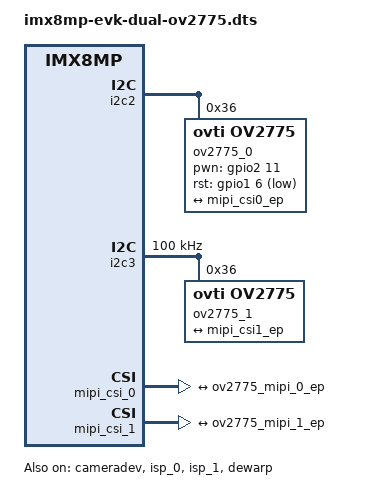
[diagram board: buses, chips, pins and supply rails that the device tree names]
// SPDX-License-Identifier: (GPL-2.0+ OR MIT)
/*
 * Copyright 2020 NXP
 *
 * This program is free software; you can redistribute it and/or
 * modify it under the terms of the GNU General Public License
 * as published by the Free Software Foundation; either version 2
 * of the License, or (at your option) any later version.
 *
 * This program is distributed in the hope that it will be useful,
 * but WITHOUT ANY WARRANTY; without even the implied warranty of
 * MERCHANTABILITY or FITNESS FOR A PARTICULAR PURPOSE.  See the
 * GNU General Public License for more details.
 */

#include "imx8mp-evk.dts"

&i2c2 {
	/delete-node/ov5640_mipi@3c;

	ov2775_0: ov2775_mipi@36 {
		compatible = "ovti,ov2775";
		reg = <0x36>;
		pinctrl-names = "default";
		pinctrl-0 = <&pinctrl_csi0_pwn>, <&pinctrl_csi0_rst>, <&pinctrl_csi_mclk>;
		clocks = <&clk IMX8MP_CLK_IPP_DO_CLKO2>;
		clock-names = "csi_mclk";
		assigned-clocks = <&clk IMX8MP_CLK_IPP_DO_CLKO2>;
		assigned-clock-parents = <&clk IMX8MP_CLK_24M>;
		assigned-clock-rates = <24000000>;
		csi_id = <0>;
		pwn-gpios = <&gpio2 11 GPIO_ACTIVE_HIGH>;
		rst-gpios = <&gpio1 6 GPIO_ACTIVE_LOW>;
		mclk = <24000000>;
		mclk_source = <0>;
		status = "okay";

		port {
			ov2775_mipi_0_ep: endpoint {
				data-lanes = <1 2 3 4>;
				clock-lanes = <0>;
				max-pixel-frequency = /bits/ 64 <266000000>;
				remote-endpoint = <&mipi_csi0_ep>;
			};
		};

	};
};

&i2c3 {
	clock-frequency = <100000>;
	pinctrl-names = "default";
	pinctrl-0 = <&pinctrl_i2c3>;
	status = "okay";

	/delete-node/ov5640_mipi@3c;

	ov2775_1: ov2775_mipi@36 {
		compatible = "ovti,ov2775";
		reg = <0x36>;
		clocks = <&clk IMX8MP_CLK_IPP_DO_CLKO2>;
		clock-names = "csi_mclk";
		assigned-clocks = <&clk IMX8MP_CLK_IPP_DO_CLKO2>;
		assigned-clock-parents = <&clk IMX8MP_CLK_24M>;
		assigned-clock-rates = <24000000>;
		csi_id = <1>;
		mclk = <24000000>;
		mclk_source = <0>;
		status = "okay";

		port {
			ov2775_mipi_1_ep: endpoint {
				data-lanes = <1 2 3 4>;
				clock-lanes = <0>;
				max-pixel-frequency = /bits/ 64 <266000000>;
				remote-endpoint = <&mipi_csi1_ep>;
			};
		};
	};
};

&cameradev {
	status = "okay";
};

&isi_0 {
	status = "disabled";
};

&isi_1 {
	status = "disabled";
};

&isp_0 {
	status = "okay";
};

&isp_1 {
	status = "okay";
};

&dewarp {
	status = "okay";
};

&mipi_csi_0 {
	status = "okay";
	clock-frequency = <266000000>;
	assigned-clock-parents = <&clk IMX8MP_SYS_PLL1_266M>;
	assigned-clock-rates = <266000000>;

	port {
		endpoint {
			remote-endpoint = <&ov2775_mipi_0_ep>;
			data-lanes = <4>;
			csis-hs-settle = <16>;
		};
	};
};

&mipi_csi_1 {
	status = "okay";

	port@1 {
		reg = <1>;
		mipi_csi1_ep: endpoint {
			remote-endpoint = <&ov2775_mipi_1_ep>;
			data-lanes = <4>;
			csis-hs-settle = <16>;
		};
	};
};
